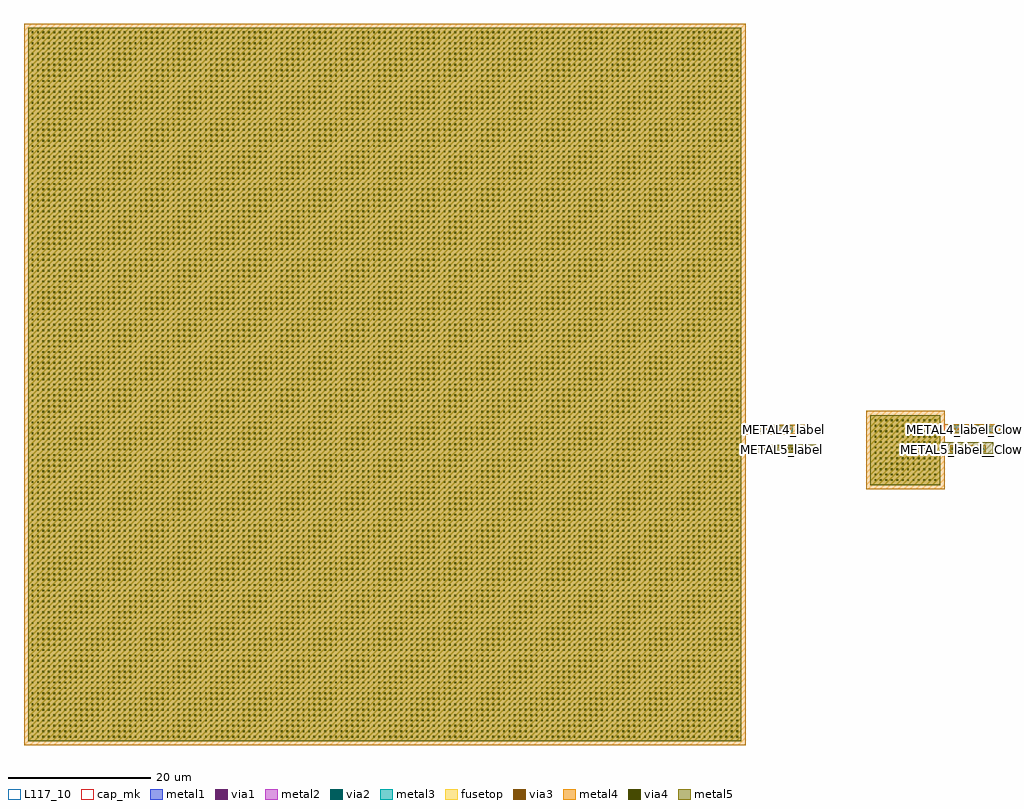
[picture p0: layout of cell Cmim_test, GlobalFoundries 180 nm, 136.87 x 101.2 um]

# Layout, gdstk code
import gdstk
lib = gdstk.Library(unit=1e-6, precision=1e-09)
def R(c, l, rs):  # rectangles x0, y0, x1, y1
    for r in rs: c.add(gdstk.rectangle(r[:2], r[2:], *l))
def A(c, l, x, y, w, h, nx, ny, dx, dy):  # array of equal rectangles
    R(c, l, [(x+i*dx, y+j*dy, x+i*dx+w, y+j*dy+h) for i in range(nx) for j in range(ny)])
metal1 = (34, 0)
via1 = (35, 0)
metal2 = (36, 0)
via2 = (38, 0)
via3 = (40, 0)
via4 = (41, 0)
metal3 = (42, 0)
metal4 = (46, 0)
fusetop = (75, 0)
metal5 = (81, 0)
cap_mk = (117, 5)
L117_10 = (117, 10)

via_dev = lib.new_cell('via_dev')
R(via_dev, metal1, [(0,0,1,1)])
R(via_dev, via1, [(0.37,0.37,0.63,0.63)])
R(via_dev, metal2, [(0,0,1,1)])
R(via_dev, via2, [(0.37,0.37,0.63,0.63)])
R(via_dev, via3, [(0.37,0.37,0.63,0.63)])
R(via_dev, metal3, [(0,0,1,1)])
R(via_dev, metal4, [(0,0,1,1)])

via_dev_1 = lib.new_cell('via_dev$1')
R(via_dev_1, metal1, [(0,0,5,1)])
A(via_dev_1, via1, 0.25, 0.37, 0.26, 0.26, 9, 1, 0.53, 0)
R(via_dev_1, metal2, [(0,0,5,1)])
A(via_dev_1, via2, 0.25, 0.37, 0.26, 0.26, 9, 1, 0.53, 0)
A(via_dev_1, via3, 0.25, 0.37, 0.26, 0.26, 9, 1, 0.53, 0)
R(via_dev_1, metal3, [(0,0,5,1)])
R(via_dev_1, metal4, [(0,0,5,1)])

cap_mim_1 = lib.new_cell('cap_mim$1')
A(cap_mim_1, via4, 0.47, 0.47, 0.26, 0.26, 131, 131, 0.76, 0.76)
R(cap_mim_1, metal4, [(-0.6,-0.6,100.6,100.6)])
R(cap_mim_1, fusetop, [(0,0,100,100)])
R(cap_mim_1, metal5, [(0,0,100,100)])
R(cap_mim_1, cap_mk, [(-0.6,-0.6,100.6,100.6)])
R(cap_mim_1, L117_10, [(0,0,100,0.1)])

cap_mim_2 = lib.new_cell('cap_mim$2')
A(cap_mim_2, via4, 0.59, 0.59, 0.26, 0.26, 12, 12, 0.76, 0.76)
R(cap_mim_2, metal4, [(-0.6,-0.6,10.4,10.4)])
R(cap_mim_2, fusetop, [(0,0,9.8,9.8)])
R(cap_mim_2, metal5, [(0,0,9.8,9.8)])
R(cap_mim_2, cap_mk, [(-0.6,-0.6,10.4,10.4)])
R(cap_mim_2, L117_10, [(0,0,9.8,0.1)])

via_dev_2 = lib.new_cell('via_dev$2')
R(via_dev_2, metal1, [(0,0,5,1)])
A(via_dev_2, via1, 0.25, 0.37, 0.26, 0.26, 9, 1, 0.53, 0)
R(via_dev_2, metal2, [(0,0,5,1)])
A(via_dev_2, via2, 0.25, 0.37, 0.26, 0.26, 9, 1, 0.53, 0)
A(via_dev_2, via3, 0.25, 0.37, 0.26, 0.26, 9, 1, 0.53, 0)
A(via_dev_2, via4, 0.25, 0.37, 0.26, 0.26, 9, 1, 0.53, 0)
R(via_dev_2, metal3, [(0,0,5,1)])
R(via_dev_2, metal4, [(0,0,5,1)])
R(via_dev_2, metal5, [(0,0,5,1)])

cmim_test = lib.new_cell('Cmim_test')
R(cmim_test, metal4, [(246.325,123.235,255.785,124.52), (274.355,123.32,282.415,124.62)])
R(cmim_test, metal5, [(274.365,120.46,281.44,122.065), (244.92,120.605,256.63,121.725)])
cmim_test.add(gdstk.Reference(via_dev, (254.17,123.42)))
cmim_test.add(gdstk.Reference(via_dev_1, (248.385,123.445)))
cmim_test.add(gdstk.Reference(cap_mim_1, (146.145,80.19)))
cmim_test.add(gdstk.Reference(cap_mim_2, (264.235,116.085)))
cmim_test.add(gdstk.Reference(via_dev_2, (248.65,120.66)))
cmim_test.add(gdstk.Reference(via_dev, (280.935,123.42)))
cmim_test.add(gdstk.Reference(via_dev_1, (275.15,123.445)))
cmim_test.add(gdstk.Reference(via_dev_2, (275.415,120.66)))
cmim_test.add(gdstk.Label('METAL4_label_Clow', (278.84,123.87), layer=34, texttype=10))
cmim_test.add(gdstk.Label('METAL5_label__Clow', (278.53,121.09), layer=34, texttype=10))
cmim_test.add(gdstk.Label('METAL4_label', (252.075,123.87), layer=34, texttype=10))
cmim_test.add(gdstk.Label('METAL5_label', (251.765,121.09), layer=34, texttype=10))

lib.write_gds('Cmim_test.gds')
